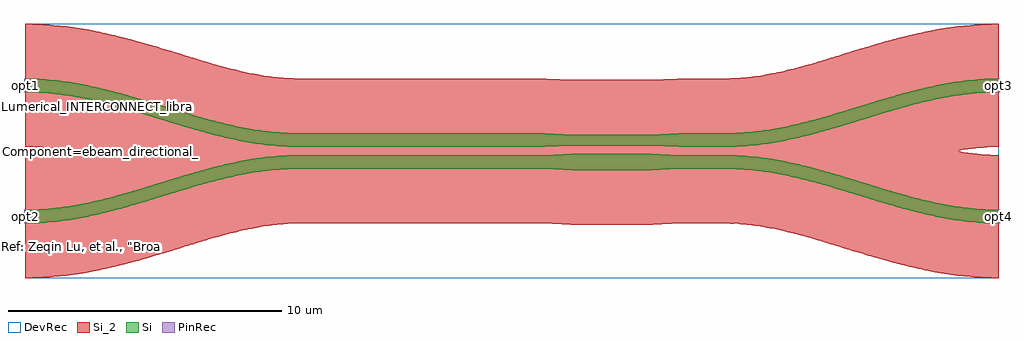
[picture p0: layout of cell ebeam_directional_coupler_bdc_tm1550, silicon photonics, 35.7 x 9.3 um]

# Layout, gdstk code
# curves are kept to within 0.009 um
import gdstk
lib = gdstk.Library(unit=1e-6, precision=1e-09)
def R(c, l, rs):  # rectangles x0, y0, x1, y1
    for r in rs: c.add(gdstk.rectangle(r[:2], r[2:], *l))
def P(c, l, *ps):  # polygons
    for p in ps: c.add(gdstk.Polygon(p, *l))
Si = (1, 0)
Si_2 = (1, 2)
PinRec = (1, 10)
DevRec = (68, 0)

ebeam_directional_couple = lib.new_cell('ebeam_directional_coupler_bdc_tm1550')
P(ebeam_directional_couple, Si, [(-17.8,-2.65),(-17.8,-2.15),(-17.292,-2.136),(-16.69,-2.084),(-16.095,-2),(-15.504,-1.887),(-15.015,-1.775),(-14.333,-1.596),(-11.796,-0.835),(-10.603,-0.515),(-9.895,-0.362),(-9.279,-0.259),(-8.652,-0.187),(-8.015,-0.152),(1.2,-0.15),(2.2,-0.1),(5.1,-0.1),(6.1,-0.15),(8.015,-0.152),(8.652,-0.187),(9.071,-0.231),(9.588,-0.307),(10.2,-0.424),(10.704,-0.54),(11.796,-0.835),(14.333,-1.596),(15.406,-1.866),(16.095,-2),(16.69,-2.084),(17.292,-2.136),(17.8,-2.15),(17.8,-2.65),(16.948,-2.613),(16.115,-2.51),(15.299,-2.354),(14.397,-2.132),(13.607,-1.907),(11.656,-1.315),(10.585,-1.025),(10.096,-0.913),(9.406,-0.784),(8.81,-0.705),(8.308,-0.664),(7.8,-0.65),(6.1,-0.65),(5.1,-0.7),(2.2,-0.7),(1.2,-0.65),(-8.004,-0.652),(-8.61,-0.685),(-9.109,-0.74),(-9.604,-0.817),(-10.292,-0.956),(-11.462,-1.259),(-14.298,-2.105),(-14.997,-2.285),(-15.603,-2.418),(-16.218,-2.526),(-16.738,-2.593),(-17.265,-2.635)],
  [(-7.8,0.15),(-8.335,0.165),(-8.862,0.207),(-9.382,0.274),(-9.997,0.382),(-10.603,0.515),(-11.302,0.695),(-14.138,1.541),(-15.308,1.844),(-15.996,1.983),(-16.491,2.06),(-17.192,2.13),(-17.8,2.15),(-17.8,2.65),(-17.265,2.635),(-16.738,2.593),(-16.115,2.51),(-15.4,2.376),(-14.596,2.185),(-14.1,2.05),(-11.656,1.315),(-10.78,1.074),(-10.194,0.934),(-9.702,0.835),(-8.81,0.705),(-8.308,0.664),(-7.8,0.65),(1.2,0.65),(2.2,0.6),(5.1,0.6),(6.1,0.65),(8.004,0.652),(8.61,0.685),(9.109,0.74),(9.998,0.893),(10.878,1.099),(11.656,1.315),(14.001,2.022),(14.596,2.185),(15.299,2.354),(15.909,2.475),(16.529,2.569),(17.159,2.629),(17.8,2.65),(17.8,2.15),(17.292,2.136),(16.69,2.084),(16.095,2),(15.406,1.866),(14.722,1.701),(14.138,1.541),(11.895,0.864),(11.004,0.615),(9.895,0.362),(9.382,0.274),(8.862,0.207),(8.335,0.165),(7.8,0.15),(6.1,0.15),(5.1,0.2),(2.2,0.2),(1.2,0.15)])
P(ebeam_directional_couple, Si_2, [(-17.8,-4.65),(-17.8,-0.15),(-17.155,-0.122),(-16.729,-0.074),(-16.269,0),(-16.691,0.069),(-17.148,0.121),(-17.8,0.15),(-17.8,4.65),(-17.027,4.625),(-16.281,4.554),(-15.686,4.466),(-14.993,4.334),(-14.091,4.12),(-13.574,3.98),(-11.083,3.231),(-10.286,3.012),(-9.421,2.817),(-8.909,2.731),(-8.591,2.693),(-8.21,2.661),(-7.78,2.65),(1.25,2.65),(2.26,2.6),(5.04,2.6),(6.05,2.65),(7.984,2.652),(8.411,2.675),(8.871,2.726),(9.519,2.836),(10.3,3.015),(11.102,3.237),(13.556,3.975),(14.091,4.12),(14.975,4.33),(15.668,4.463),(16.404,4.568),(17.027,4.625),(17.8,4.65),(17.8,0.15),(17.155,0.122),(16.729,0.074),(16.269,0),(16.691,-0.069),(17.148,-0.121),(17.8,-0.15),(17.8,-4.65),(17.171,-4.633),(16.53,-4.582),(15.93,-4.505),(15.218,-4.381),(14.533,-4.23),(13.772,-4.035),(11.083,-3.231),(10.36,-3.031),(9.835,-2.903),(9.266,-2.788),(8.871,-2.726),(8.27,-2.665),(7.78,-2.65),(6.16,-2.65),(5.15,-2.7),(2.15,-2.7),(1.14,-2.65),(-7.8,-2.65),(-8.411,-2.675),(-8.871,-2.726),(-9.243,-2.784),(-9.854,-2.907),(-10.3,-3.015),(-11.102,-3.237),(-13.556,-3.975),(-14.091,-4.12),(-14.975,-4.33),(-15.668,-4.463),(-16.404,-4.568),(-17.027,-4.625)])
R(ebeam_directional_couple, DevRec, [(-17.8,-4.65,17.8,4.65)])
ebeam_directional_couple.add(gdstk.FlexPath([(-17.85,2.4),(-17.75,2.4)], 0.5, ends="flush", simple_path=True, layer=1, datatype=10))  # PinRec
ebeam_directional_couple.add(gdstk.FlexPath([(-17.85,-2.4),(-17.75,-2.4)], 0.5, ends="flush", simple_path=True, layer=1, datatype=10))  # PinRec
ebeam_directional_couple.add(gdstk.FlexPath([(17.75,2.4),(17.85,2.4)], 0.5, ends="flush", simple_path=True, layer=1, datatype=10))  # PinRec
ebeam_directional_couple.add(gdstk.FlexPath([(17.75,-2.4),(17.85,-2.4)], 0.5, ends="flush", simple_path=True, layer=1, datatype=10))  # PinRec
ebeam_directional_couple.add(gdstk.Label('opt1', (-17.8,2.4), layer=1, texttype=10))
ebeam_directional_couple.add(gdstk.Label('opt2', (-17.8,-2.4), layer=1, texttype=10))
ebeam_directional_couple.add(gdstk.Label('opt3', (17.8,2.4), layer=1, texttype=10))
ebeam_directional_couple.add(gdstk.Label('opt4', (17.8,-2.4), layer=1, texttype=10))
ebeam_directional_couple.add(gdstk.Label('Component=ebeam_directional_coupler_bdc_tm1550', (-16.27,0), layer=68, texttype=0))
ebeam_directional_couple.add(gdstk.Label('Lumerical_INTERCONNECT_library=Design kits/ebeam', (-16.27,1.61), layer=68, texttype=0))
ebeam_directional_couple.add(gdstk.Label('Ref: Zeqin Lu, et al., "Broadband silicon photonic directional coupler \nusing asymmetric-waveguide based phase control," Optics Express, 2015', (-17.7,-3.5), layer=68, texttype=0))
ebeam_directional_couple.add(gdstk.Label('50-50% (+/- 8%) broadband splitter, 1550 nm, TM', (-10.9,1.5), layer=10, texttype=0))

lib.write_gds('ebeam_directional_coupler_bdc_tm1550.gds')
